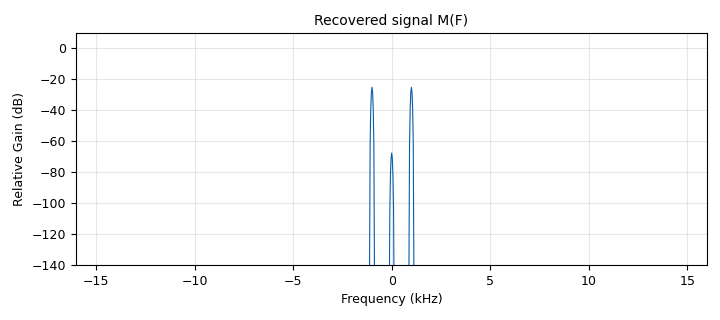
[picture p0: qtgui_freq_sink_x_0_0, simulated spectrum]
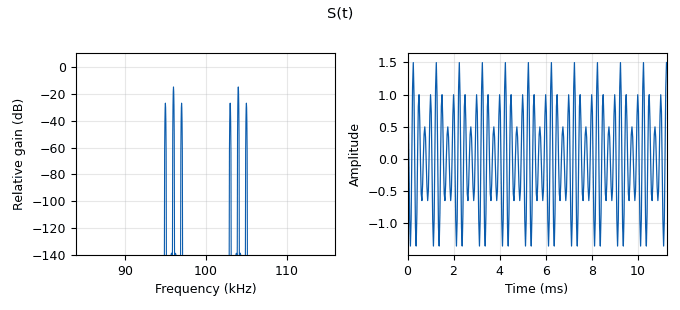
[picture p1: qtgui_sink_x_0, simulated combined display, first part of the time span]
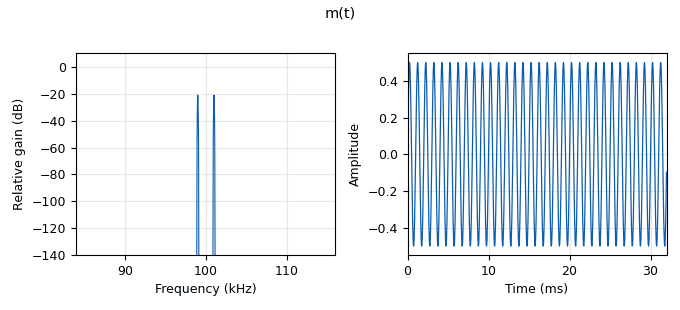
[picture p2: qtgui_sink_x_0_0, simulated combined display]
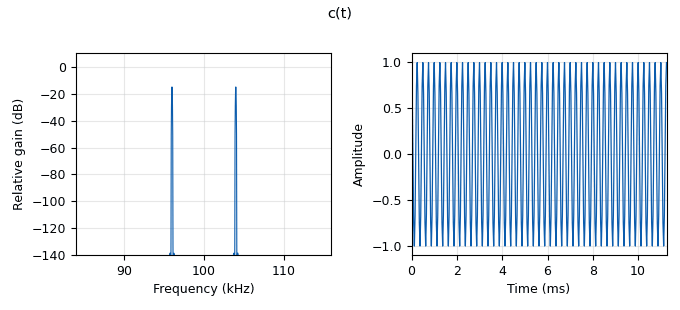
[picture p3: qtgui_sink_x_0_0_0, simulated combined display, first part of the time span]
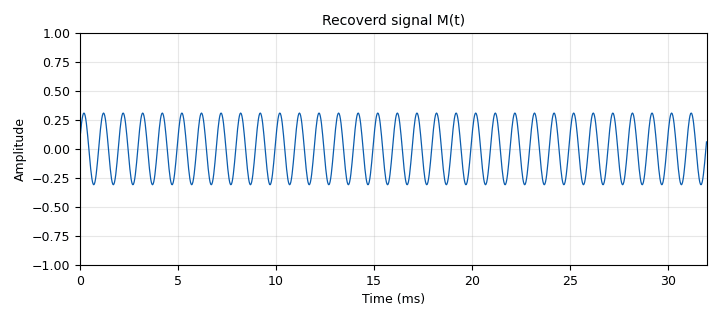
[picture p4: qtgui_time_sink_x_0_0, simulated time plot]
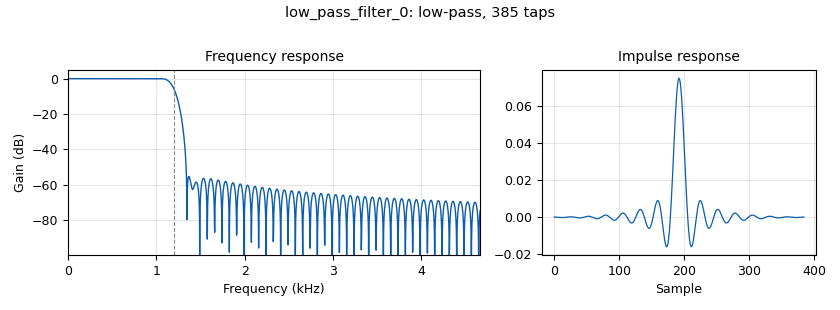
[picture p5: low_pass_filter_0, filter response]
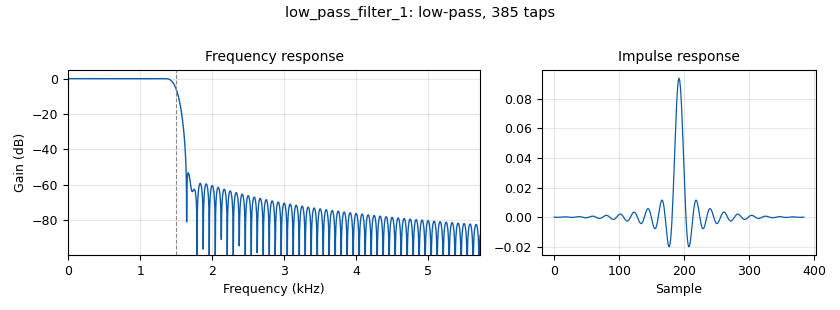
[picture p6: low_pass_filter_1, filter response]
options:
  parameters:
    author: HP
    generate_options: qt_gui
    id: system
    output_language: python
    title: Not titled yet
  states: {}

blocks:
- name: samp_rate
  id: variable
  parameters:
    value: '32000'
  states: {}
- name: analog_const_source_x_0
  id: analog_const_source_x
  parameters:
    const: '1'
    type: float
  states: {}
- name: analog_const_source_x_1
  id: analog_const_source_x
  parameters:
    const: '1'
    type: float
  states: {}
- name: analog_sig_source_x_0
  id: analog_sig_source_x
  parameters:
    amp: '0.5'
    freq: '1000'
    offset: '0'
    phase: '0'
    samp_rate: samp_rate
    type: float
    waveform: analog.GR_SIN_WAVE
  states: {}
- name: analog_sig_source_x_1
  id: analog_sig_source_x
  parameters:
    amp: '1'
    freq: 1e5
    offset: '0'
    phase: '0'
    samp_rate: samp_rate
    type: float
    waveform: analog.GR_COS_WAVE
  states: {}
- name: blocks_abs_xx_0
  id: blocks_abs_xx
  parameters:
    type: float
  states: {}
- name: blocks_add_xx_0
  id: blocks_add_xx
  parameters:
    type: float
  states: {}
- name: blocks_complex_to_mag_0
  id: blocks_complex_to_mag
  parameters: {}
  states: {}
- name: blocks_float_to_complex_0
  id: blocks_float_to_complex
  parameters: {}
  states: {}
- name: blocks_multiply_xx_0
  id: blocks_multiply_xx
  parameters:
    type: float
  states: {}
- name: blocks_multiply_xx_1
  id: blocks_multiply_xx
  parameters:
    type: float
  states: {}
- name: dc_blocker_xx_0
  id: dc_blocker_xx
  parameters:
    length: '32'
    long_form: 'True'
    type: ff
  states: {}
- name: low_pass_filter_0
  id: low_pass_filter
  parameters:
    cutoff_freq: '1200'
    decim: '1'
    gain: '1'
    samp_rate: samp_rate
    type: fir_filter_fff
    width: '200'
    win: window.WIN_HAMMING
  states: {}
- name: low_pass_filter_1
  id: low_pass_filter
  parameters:
    cutoff_freq: '1500'
    decim: '1'
    gain: '1'
    samp_rate: samp_rate
    type: fir_filter_fff
    width: '200'
    win: window.WIN_HAMMING
  states: {}
- name: qtgui_freq_sink_x_0_0
  id: qtgui_freq_sink_x
  parameters:
    bw: samp_rate
    fc: '0'
    fftsize: '1024'
    name: '"Recovered signal M(F)"'
    type: float
  states: {}
- name: qtgui_sink_x_0
  id: qtgui_sink_x
  parameters:
    bw: samp_rate
    fc: 1e5
    fftsize: '1024'
    name: '"S(t)"'
    type: float
  states: {}
- name: qtgui_sink_x_0_0
  id: qtgui_sink_x
  parameters:
    bw: samp_rate
    fc: 1e5
    fftsize: '1024'
    name: '"m(t)"'
    type: float
  states: {}
- name: qtgui_sink_x_0_0_0
  id: qtgui_sink_x
  parameters:
    bw: samp_rate
    fc: 1e5
    fftsize: '1024'
    name: '"c(t)"'
    type: float
  states: {}
- name: qtgui_time_sink_x_0_0
  id: qtgui_time_sink_x
  parameters:
    name: '"Recoverd signal M(t)"'
    size: '1024'
    srate: samp_rate
    type: float
  states: {}

connections:
- [analog_const_source_x_0, '0', blocks_add_xx_0, '1']
- [analog_const_source_x_1, '0', blocks_multiply_xx_1, '1']
- [analog_sig_source_x_0, '0', blocks_multiply_xx_1, '0']
- [analog_sig_source_x_0, '0', qtgui_sink_x_0_0, '0']
- [analog_sig_source_x_1, '0', blocks_multiply_xx_0, '1']
- [analog_sig_source_x_1, '0', qtgui_sink_x_0_0_0, '0']
- [blocks_abs_xx_0, '0', low_pass_filter_1, '0']
- [blocks_add_xx_0, '0', blocks_multiply_xx_0, '0']
- [blocks_complex_to_mag_0, '0', low_pass_filter_0, '0']
- [blocks_float_to_complex_0, '0', blocks_complex_to_mag_0, '0']
- [blocks_multiply_xx_0, '0', blocks_float_to_complex_0, '0']
- [blocks_multiply_xx_0, '0', qtgui_sink_x_0, '0']
- [blocks_multiply_xx_1, '0', blocks_add_xx_0, '0']
- [dc_blocker_xx_0, '0', qtgui_freq_sink_x_0_0, '0']
- [dc_blocker_xx_0, '0', qtgui_time_sink_x_0_0, '0']
- [low_pass_filter_0, '0', blocks_abs_xx_0, '0']
- [low_pass_filter_1, '0', dc_blocker_xx_0, '0']

metadata:
  file_format: 1
  grc_version: 3.10.10.0
